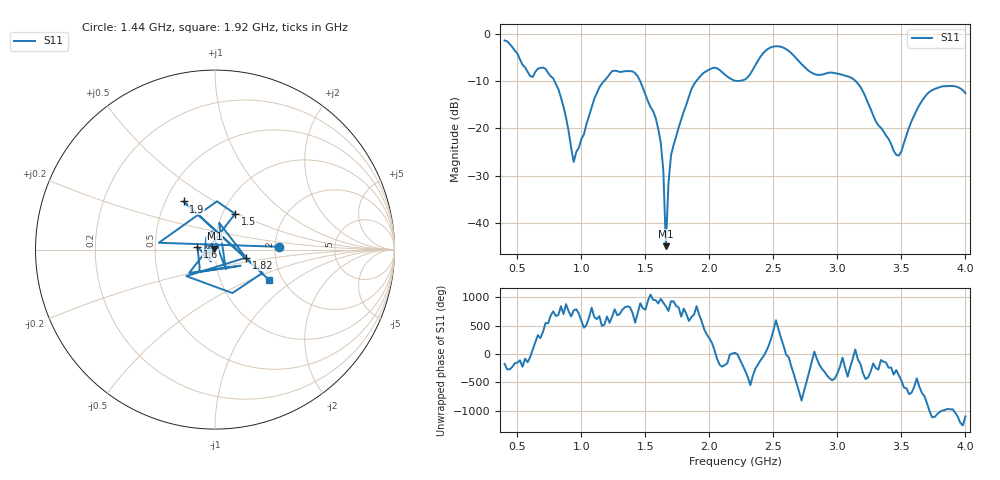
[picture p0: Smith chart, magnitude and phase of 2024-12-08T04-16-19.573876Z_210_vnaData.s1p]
!Created with skrf (http://scikit-rf.org).
# Hz S RI R 50.0
!freq ReS11 ImS11
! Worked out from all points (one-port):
!   181 points, 400 MHz to 4 GHz, reference 50 ohm
!   lowest |S11| = -45.0 dB at 1.66 GHz (marker M1), VSWR 1.01, Z = 49.7 + j0.486 ohm
!   |S11| at or under -10 dB: 790 MHz to 1.176 GHz (386 MHz wide, 39.3 % of centre); 1.459 GHz to 1.897 GHz (437.5 MHz wide, 26.1 % of centre); 3.143 GHz to end of sweep
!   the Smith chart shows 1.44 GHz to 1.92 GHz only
!   S11 on the Smith chart (normalised r, x): 1.44 GHz: 2.10, +0.08; 1.5 GHz: 1.14, +0.48; 1.6 GHz: 0.82, +0.03; 1.82 GHz: 1.41, -0.13; 1.9 GHz: 0.62, +0.37; 1.92 GHz: 1.71, -0.66
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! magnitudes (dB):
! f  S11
! 400 MHz  -1.4
! 600 MHz  -8.9
! 720 MHz  -7.4
! 860 MHz  -15.4
! 940 MHz  -27.1
! 1.14 GHz  -11.3
! 1.3 GHz  -8.0
! 1.44 GHz  -9.0
! 1.5 GHz  -12.9
! 1.6 GHz  -20.1
! 1.64 GHz  -28.9
! 1.66 GHz  -45.0
! 1.68 GHz  -31.7
! 1.7 GHz  -25.7
! 1.76 GHz  -19.8
! 1.82 GHz  -15.0
! 1.9 GHz  -9.9
! 1.92 GHz  -9.2
! 2.04 GHz  -7.1
! 2.2 GHz  -9.9
! 2.48 GHz  -2.8
! 2.66 GHz  -4.6
! 2.82 GHz  -8.5
! 3.1 GHz  -9.2
! 3.46 GHz  -25.6
! 3.56 GHz  -19.8
! 3.74 GHz  -11.9
! 4 GHz  -12.5
